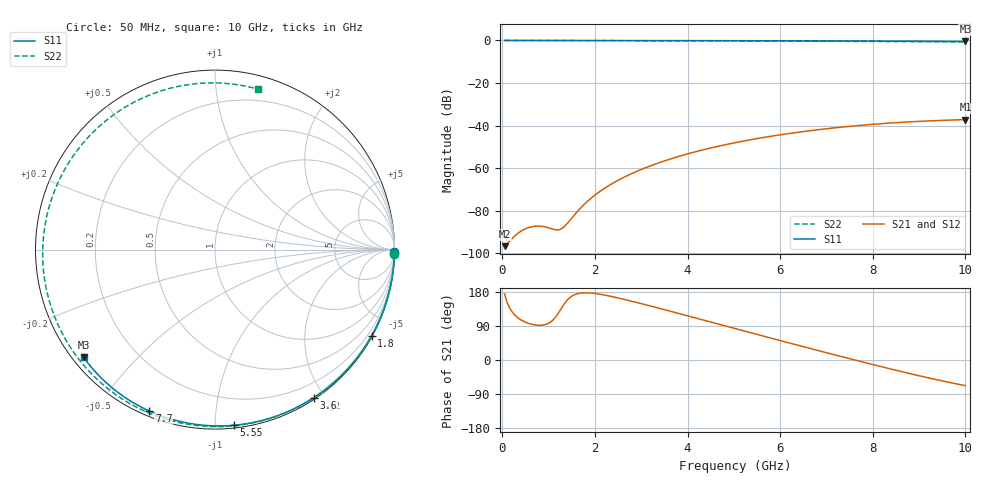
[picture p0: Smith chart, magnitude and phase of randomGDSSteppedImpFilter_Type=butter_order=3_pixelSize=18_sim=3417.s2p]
! freq	dB(S11)	phase(S11)	dB(S12)	phase(S12)
!  dB(S21)	phase(S21)	dB(S22)	phase(S22)
!S-par simulation data
#  GHz  S  DB  R 50
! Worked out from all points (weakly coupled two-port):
!   200 points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, 50 MHz to 10 GHz, reference 50 ohm
!   highest |S21| = -37.18 dB at 10 GHz (marker M1); lowest = -96.6 dB at 50 MHz (marker M2)
!   lowest |S11| = -0.5 dB at 10 GHz (marker M3), VSWR 36.43, Z = 1.55 - j17.8 ohm
!   |S11| at or under -10 dB: nowhere
!   |S22| runs from -0.7 to 0.0 dB; largest |S21 - S12| = 0
!   S11 on the Smith chart (normalised r, x): 50 MHz: open; 1.8 GHz: 0.03, -3.89; 3.6 GHz: 0.02, -1.87; 5.55 GHz: 0.02, -1.11; 7.7 GHz: 0.02, -0.67; 10 GHz: 0.03, -0.36
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0.05  -0.00 -0.8  -96.62 174.2  -96.62 174.2  -0.00 -1.4
0.8  -0.02 -12.9  -87.20 91.6  -87.20 91.6  -0.02 -22.1
1.6  -0.03 -25.7  -80.84 174.2  -80.84 174.2  -0.05 -43.7
1.75  -0.04 -28.0  -77.37 177.2  -77.37 177.2  -0.06 -47.7
1.8  -0.04 -28.8  -76.33 177.4  -76.33 177.4  -0.06 -49.0
2.1  -0.04 -33.5  -71.03 173.7  -71.03 173.7  -0.07 -56.9
2.45  -0.05 -38.9  -66.28 165.2  -66.28 165.2  -0.09 -66.0
2.9  -0.06 -45.8  -61.51 151.9  -61.51 151.9  -0.10 -77.6
3.4  -0.07 -53.3  -57.32 136.1  -57.32 136.1  -0.12 -90.3
3.6  -0.08 -56.3  -55.87 129.6  -55.87 129.6  -0.13 -95.3
4.3  -0.09 -66.5  -51.56 106.8  -51.56 106.8  -0.16 -112.8
5.05  -0.12 -77.1  -47.91 82.2  -47.91 82.2  -0.20 -131.4
5.55  -0.14 -84.0  -45.90 65.9  -45.90 65.9  -0.24 -144.0
6.15  -0.16 -92.0  -43.84 46.4  -43.84 46.4  -0.28 -159.5
6.7  -0.19 -99.3  -42.24 28.8  -42.24 28.8  -0.33 -174.3
7.2  -0.22 -105.8  -41.00 12.9  -41.00 12.9  -0.38 171.6
7.7  -0.26 -112.1  -39.94 -2.8  -39.94 -2.8  -0.44 156.7
8.35  -0.31 -120.3  -38.82 -22.6  -38.82 -22.6  -0.51 135.9
8.85  -0.35 -126.5  -38.16 -37.3  -38.16 -37.3  -0.57 118.6
9.25  -0.39 -131.4  -37.74 -48.5  -37.74 -48.5  -0.61 104.0
9.65  -0.44 -136.4  -37.41 -59.1  -37.41 -59.1  -0.64 88.8
10  -0.48 -140.7  -37.18 -67.7  -37.18 -67.7  -0.67 75.1
